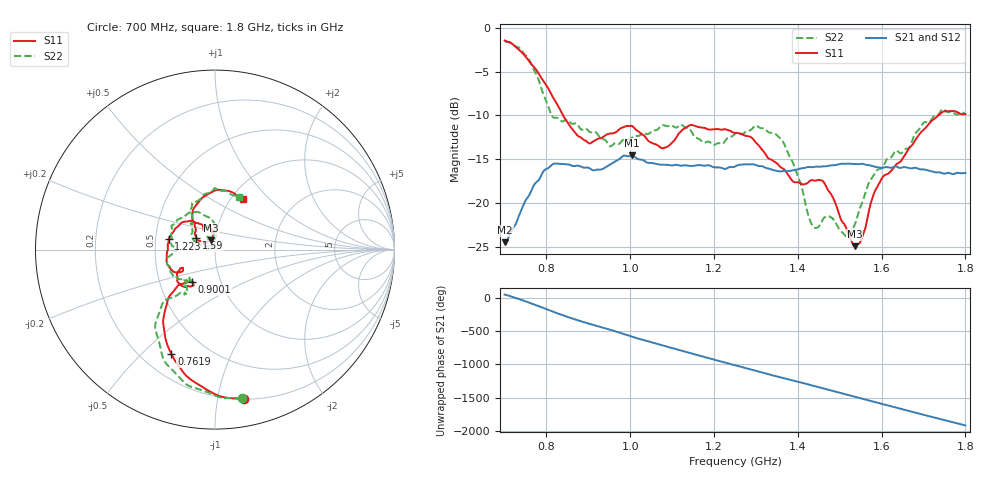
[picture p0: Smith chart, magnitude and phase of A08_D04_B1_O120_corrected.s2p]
! Created with skrf 1.9.0 (http://scikit-rf.org).
# Hz S RI R 50.0
!freq ReS11 ImS11 ReS21 ImS21 ReS12 ImS12 ReS22 ImS22
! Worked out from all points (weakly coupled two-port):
!   1601 points, 700 MHz to 1.8 GHz, reference 50 ohm
!   highest |S21| = -14.58 dB at 1.005 GHz (marker M1); lowest = -24.5 dB at 701.4 MHz (marker M2)
!   lowest |S11| = -25.0 dB at 1.535 GHz (marker M3), VSWR 1.12, Z = 47.6 + j4.98 ohm
!   |S11| at or under -10 dB: 839.5 MHz to 1.735 GHz (895.9 MHz wide, 69.6 % of centre)
!   |S22| runs from -24.0 to -1.5 dB; largest |S21 - S12| = 0.0035
!   S11 on the Smith chart (normalised r, x): 700 MHz: 0.20, -1.19; 761.9 MHz: 0.32, -0.62; 900.1 MHz: 0.73, -0.28; 1.223 GHz: 0.59, +0.07; 1.59 GHz: 0.80, +0.11; 1.8 GHz: 1.13, +0.71
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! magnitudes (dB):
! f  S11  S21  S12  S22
! 700 MHz  -1.4  -24.5  -24.3  -1.5
! 701.4 MHz  -1.5  -24.5  -24.1  -1.5
! 761.9 MHz  -4.0  -18.8  -18.8  -3.9
! 814.1 MHz  -7.8  -15.6  -15.6  -10.1
! 883.6 MHz  -12.6  -15.9  -15.8  -11.6
! 900.1 MHz  -13.1  -16.0  -16.0  -11.8
! 952.3 MHz  -12.1  -15.6  -15.6  -13.5
! 1.005 GHz  -11.2  -14.6  -14.7  -12.5
! 1.067 GHz  -13.5  -15.6  -15.5  -11.5
! 1.143 GHz  -11.1  -15.8  -15.8  -11.6
! 1.223 GHz  -11.6  -16.1  -16.1  -13.1
! 1.25 GHz  -12.0  -15.8  -15.8  -12.1
! 1.361 GHz  -16.0  -16.4  -16.4  -12.8
! 1.434 GHz  -17.4  -15.9  -15.9  -22.5
! 1.463 GHz  -17.7  -15.8  -15.8  -21.7
! 1.517 GHz  -23.1  -15.5  -15.5  -24.0
! 1.535 GHz  -25.0  -15.6  -15.6  -22.6
! 1.554 GHz  -23.9  -15.5  -15.6  -19.9
! 1.59 GHz  -18.2  -15.9  -15.9  -16.2
! 1.617 GHz  -16.6  -15.9  -15.9  -14.9
! 1.741 GHz  -9.8  -16.5  -16.5  -9.5
! 1.8 GHz  -9.8  -16.6  -16.6  -9.8
